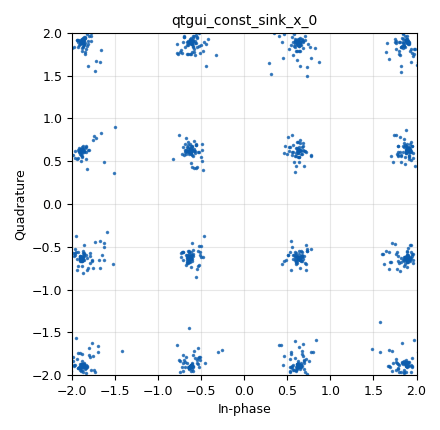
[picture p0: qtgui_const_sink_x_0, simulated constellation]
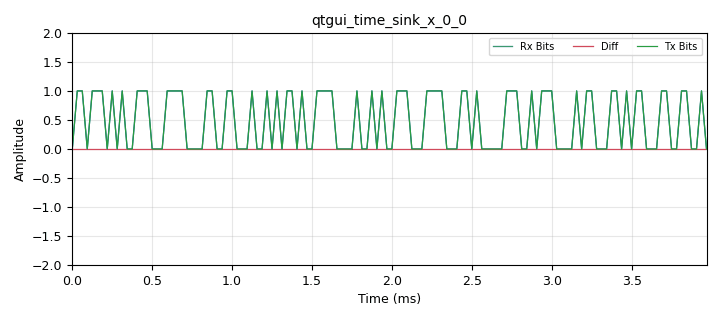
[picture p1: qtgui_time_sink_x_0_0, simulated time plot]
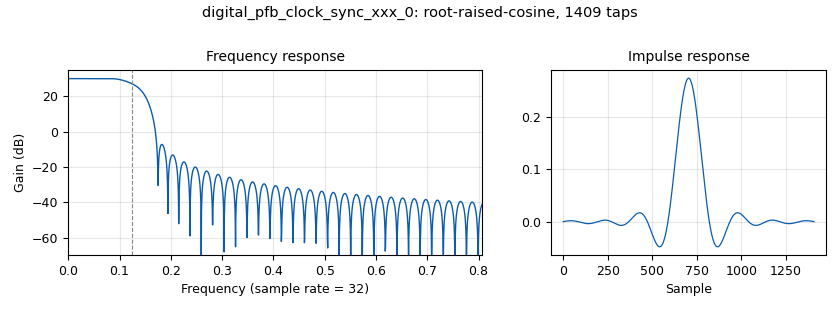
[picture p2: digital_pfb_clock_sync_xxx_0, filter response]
options:
  parameters:
    author: Barry Duggan
    category: Custom
    description: Using Diff Enc
    generate_options: qt_gui
    id: bpsk_stage6
    output_language: python
    title: bpsk_stage6
  states: {}

blocks:
- name: delay
  id: variable_qtgui_range
  parameters:
    comment: 0,3,1,1
    gui_hint: 0,3,1,1
    label: Delay
    start: '0'
    step: '1'
    stop: '200'
    value: '116'
  states: {}
- name: excess_bw
  id: variable
  parameters:
    value: '0.35'
  states: {}
- name: freq_offset
  id: variable_qtgui_range
  parameters:
    comment: 0,2,1,1
    gui_hint: 0,2,1,1
    label: 'Channel: Frequency Offset'
    start: '-0.1'
    step: '0.001'
    stop: '0.1'
    value: '0.00'
  states: {}
- name: loop_order
  id: variable
  parameters:
    value: '16'
  states: {}
- name: nfilts
  id: variable
  parameters:
    value: '32'
  states: {}
- name: noise_volt
  id: variable_qtgui_range
  parameters:
    comment: 0,0,1,1
    gui_hint: 0,0,1,1
    label: 'Channel: Noise Voltage'
    orient: QtCore.Qt.Vertical
    start: '0'
    step: '0.01'
    stop: '1'
    value: '0.0'
  states: {}
- name: noise_volt_1
  id: variable_qtgui_range
  parameters:
    comment: 0,0,1,1
    gui_hint: 0,4,1,1
    label: 'Channel: Noise Voltage'
    start: '0'
    step: '0.01'
    stop: '1'
    value: '0.3'
  states: {state: disabled}
- name: phase_bw
  id: variable
  parameters:
    value: '0.0628'
  states: {}
- name: qam
  id: variable_constellation
  parameters:
    const_points: '[(-3-3j), (-1-3j), (1-3j), (3-3j), (-3-1j), (-1-1j), (1-1j), (3-1j), (-3+1j), (-1+1j), (1+1j), (3+1j), (-3+3j), (-1+3j), (1+3j), (3+3j)]'
    dims: '1'
    normalization: digital.constellation.POWER_NORMALIZATION
    precision: '1'
    rot_sym: '4'
    sym_map: '[0, 4, 12, 8, 1, 5, 13, 9, 3, 7, 15, 11, 2, 6, 14, 10]'
    type: calcdist
  states: {}
- name: rrc_taps
  id: variable
  parameters:
    value: firdes.root_raised_cosine(nfilts, nfilts, 1.0/float(sps), 0.35, 11*sps*nfilts)
  states: {}
- name: samp_rate
  id: variable
  parameters:
    value: '32000'
  states: {}
- name: sps
  id: variable
  parameters:
    value: '4'
  states: {}
- name: taps
  id: variable
  parameters:
    value: '[1.0 + 0.0j, ]'
  states: {}
- name: time_offset
  id: variable_qtgui_range
  parameters:
    comment: 0,1,1,1
    gui_hint: 0,1,1,1
    label: 'Channel: Timing Offset'
    start: '0.999'
    step: '0.0001'
    stop: '1.001'
    value: '1.000'
  states: {}
- name: timing_loop_bw
  id: variable
  parameters:
    value: '0.0628'
  states: {}
- name: variable_adaptive_algorithm_0
  id: variable_adaptive_algorithm
  parameters:
    cons: qam
    modulus: '4'
    step_size: '.0001'
    type: cma
  states: {}
- name: analog_random_source_x_0
  id: analog_random_source_x
  parameters:
    max: '255'
    min: '0'
    num_samps: '10000'
    repeat: 'True'
    type: byte
  states: {}
- name: blocks_add_xx_0
  id: blocks_add_xx
  parameters:
    type: complex
  states: {}
- name: blocks_char_to_float_0_0
  id: blocks_char_to_float
  parameters:
    scale: '1'
  states: {}
- name: blocks_char_to_float_0_0_0
  id: blocks_char_to_float
  parameters:
    scale: '1'
  states: {}
- name: blocks_delay_0
  id: blocks_delay
  parameters:
    delay: int(delay)
    type: float
  states: {}
- name: blocks_sub_xx_0
  id: blocks_sub_xx
  parameters:
    type: float
  states: {}
- name: blocks_throttle2_0
  id: blocks_throttle2
  parameters:
    samples_per_second: samp_rate
    type: complex
  states: {}
- name: blocks_unpack_k_bits_bb_0_0
  id: blocks_unpack_k_bits_bb
  parameters:
    k: '8'
  states: {}
- name: channels_channel_model_0
  id: channels_channel_model
  parameters:
    epsilon: time_offset
    freq_offset: freq_offset
    noise_voltage: noise_volt
    seed: '0'
    taps: taps
  states: {}
- name: channels_channel_model_0_0
  id: channels_channel_model
  parameters:
    epsilon: time_offset
    freq_offset: freq_offset
    noise_voltage: noise_volt
    seed: '0'
    taps: taps
  states: {}
- name: channels_channel_model_0_0_0
  id: channels_channel_model
  parameters:
    epsilon: time_offset
    freq_offset: freq_offset
    noise_voltage: noise_volt*0
    seed: '0'
    taps: taps
  states: {state: disabled}
- name: digital_binary_slicer_fb_0
  id: digital_binary_slicer_fb
  parameters: {}
  states: {}
- name: digital_constellation_modulator_0
  id: digital_constellation_modulator
  parameters:
    constellation: qam
    differential: 'False'
    excess_bw: excess_bw
    samples_per_symbol: sps
  states: {}
- name: digital_constellation_soft_decoder_cf_0
  id: digital_constellation_soft_decoder_cf
  parameters:
    constellation: qam
  states: {}
- name: digital_costas_loop_cc_0
  id: digital_costas_loop_cc
  parameters:
    order: loop_order
    w: phase_bw
  states: {}
- name: digital_pfb_clock_sync_xxx_0
  id: digital_pfb_clock_sync_xxx
  parameters:
    filter_size: nfilts
    init_phase: nfilts/2
    loop_bw: timing_loop_bw
    max_dev: '1.5'
    osps: '1'
    sps: sps
    taps: rrc_taps
    type: ccf
  states: {}
- name: qtgui_const_sink_x_0
  id: qtgui_const_sink_x
  parameters:
    comment: 2,0,1,4
    gui_hint: 2,0,1,4
    name: ''
    size: '1024'
    type: complex
  states: {}
- name: qtgui_sink_x_0
  id: qtgui_sink_x
  parameters:
    bw: samp_rate
    fc: '0'
    fftsize: '1024'
    type: complex
  states: {state: disabled}
- name: qtgui_time_sink_x_0_0
  id: qtgui_time_sink_x
  parameters:
    comment: 1,0,1,4
    gui_hint: 1,0,1,4
    label1: Rx Bits
    label2: Diff
    label3: Tx Bits
    name: ''
    nconnections: '3'
    size: '128'
    srate: samp_rate
    tr_mode: qtgui.TRIG_MODE_AUTO
    type: float
    ymax: '2'
    ymin: '-2'
  states: {}
- name: virtual_sink_0
  id: virtual_sink
  parameters:
    stream_id: '"clock_sync"'
  states: {}
- name: virtual_sink_1
  id: virtual_sink
  parameters:
    stream_id: '"xmt_sig"'
  states: {}
- name: virtual_source_0
  id: virtual_source
  parameters:
    stream_id: '"clock_sync"'
  states: {}
- name: virtual_source_1
  id: virtual_source
  parameters:
    stream_id: '"xmt_sig"'
  states: {}

connections:
- [analog_random_source_x_0, '0', digital_constellation_modulator_0, '0']
- [analog_random_source_x_0, '0', virtual_sink_1, '0']
- [blocks_add_xx_0, '0', digital_pfb_clock_sync_xxx_0, '0']
- [blocks_char_to_float_0_0, '0', blocks_sub_xx_0, '0']
- [blocks_char_to_float_0_0, '0', qtgui_time_sink_x_0_0, '0']
- [blocks_char_to_float_0_0_0, '0', blocks_delay_0, '0']
- [blocks_delay_0, '0', blocks_sub_xx_0, '1']
- [blocks_delay_0, '0', qtgui_time_sink_x_0_0, '2']
- [blocks_sub_xx_0, '0', qtgui_time_sink_x_0_0, '1']
- [blocks_throttle2_0, '0', channels_channel_model_0, '0']
- [blocks_throttle2_0, '0', channels_channel_model_0_0, '0']
- [blocks_throttle2_0, '0', channels_channel_model_0_0_0, '0']
- [blocks_unpack_k_bits_bb_0_0, '0', blocks_char_to_float_0_0_0, '0']
- [channels_channel_model_0, '0', blocks_add_xx_0, '0']
- [channels_channel_model_0_0, '0', blocks_add_xx_0, '1']
- [digital_binary_slicer_fb_0, '0', blocks_char_to_float_0_0, '0']
- [digital_constellation_modulator_0, '0', blocks_throttle2_0, '0']
- [digital_constellation_modulator_0, '0', qtgui_sink_x_0, '0']
- [digital_constellation_soft_decoder_cf_0, '0', digital_binary_slicer_fb_0, '0']
- [digital_costas_loop_cc_0, '0', digital_constellation_soft_decoder_cf_0, '0']
- [digital_costas_loop_cc_0, '0', qtgui_const_sink_x_0, '0']
- [digital_pfb_clock_sync_xxx_0, '0', virtual_sink_0, '0']
- [virtual_source_0, '0', digital_costas_loop_cc_0, '0']
- [virtual_source_1, '0', blocks_unpack_k_bits_bb_0_0, '0']

metadata:
  file_format: 1
  grc_version: 3.10.7.0
